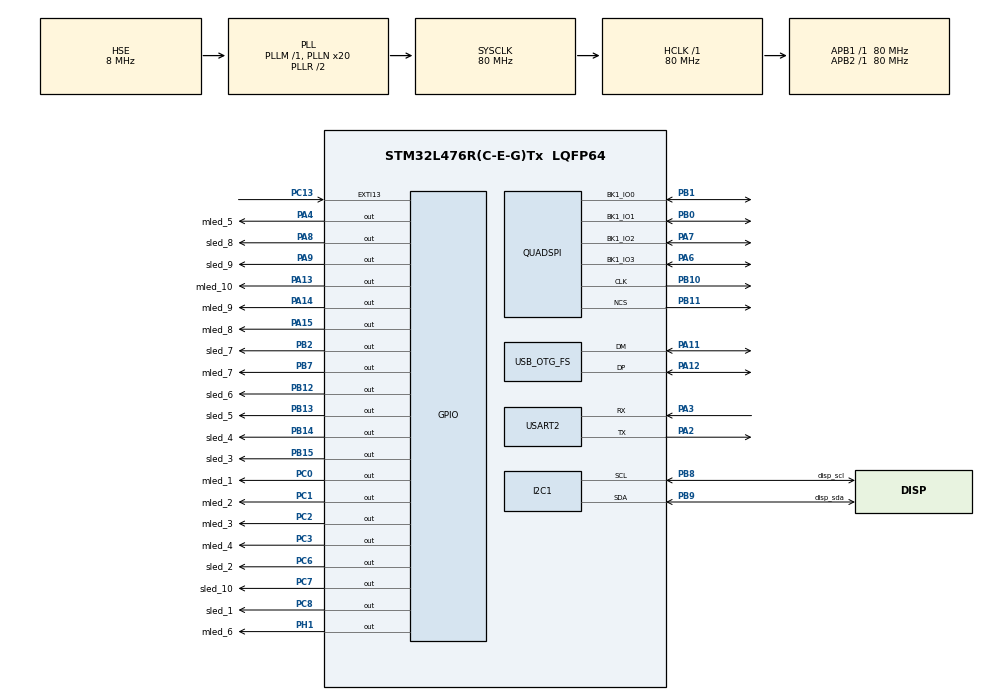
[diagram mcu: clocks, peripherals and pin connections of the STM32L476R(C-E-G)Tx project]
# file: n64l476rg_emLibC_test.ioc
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Dma.QUADSPI.2.Direction=DMA_PERIPH_TO_MEMORY
Dma.QUADSPI.2.Instance=DMA1_Channel5
Dma.QUADSPI.2.MemDataAlignment=DMA_MDATAALIGN_BYTE
Dma.QUADSPI.2.MemInc=DMA_MINC_ENABLE
Dma.QUADSPI.2.Mode=DMA_NORMAL
Dma.QUADSPI.2.PeriphDataAlignment=DMA_PDATAALIGN_BYTE
Dma.QUADSPI.2.PeriphInc=DMA_PINC_DISABLE
Dma.QUADSPI.2.Priority=DMA_PRIORITY_LOW
Dma.Request0=USART2_TX
Dma.Request1=USART2_RX
Dma.Request2=QUADSPI
Dma.USART2_RX.1.Direction=DMA_PERIPH_TO_MEMORY
Dma.USART2_RX.1.Instance=DMA1_Channel6
Dma.USART2_RX.1.MemDataAlignment=DMA_MDATAALIGN_BYTE
Dma.USART2_RX.1.MemInc=DMA_MINC_ENABLE
Dma.USART2_RX.1.Mode=DMA_NORMAL
Dma.USART2_RX.1.PeriphDataAlignment=DMA_PDATAALIGN_BYTE
Dma.USART2_RX.1.PeriphInc=DMA_PINC_DISABLE
Dma.USART2_RX.1.Priority=DMA_PRIORITY_LOW
Dma.USART2_TX.0.Direction=DMA_MEMORY_TO_PERIPH
Dma.USART2_TX.0.Instance=DMA1_Channel7
Dma.USART2_TX.0.MemDataAlignment=DMA_MDATAALIGN_BYTE
Dma.USART2_TX.0.MemInc=DMA_MINC_ENABLE
Dma.USART2_TX.0.Mode=DMA_NORMAL
Dma.USART2_TX.0.PeriphDataAlignment=DMA_PDATAALIGN_BYTE
Dma.USART2_TX.0.PeriphInc=DMA_PINC_DISABLE
Dma.USART2_TX.0.Priority=DMA_PRIORITY_LOW
I2C1.Timing=0x10D19CE4
Mcu.Family=STM32L4
Mcu.Name=STM32L476R(C-E-G)Tx
Mcu.Package=LQFP64
NVIC.DMA1_Channel5_IRQn=true\:0\:0\:false\:false\:true\:false\:true\:true
NVIC.DMA1_Channel6_IRQn=true\:4\:0\:true\:false\:true\:false\:true\:true
NVIC.DMA1_Channel7_IRQn=true\:4\:0\:true\:false\:true\:false\:true\:true
NVIC.EXTI15_10_IRQn=true\:0\:0\:false\:false\:true\:true\:true\:true
NVIC.OTG_FS_IRQn=true\:0\:0\:false\:false\:true\:true\:true\:true
NVIC.PriorityGroup=NVIC_PRIORITYGROUP_4
NVIC.QUADSPI_IRQn=true\:0\:0\:false\:false\:true\:true\:true\:true
NVIC.RNG_IRQn=true\:0\:0\:false\:false\:true\:true\:true\:true
NVIC.TIM1_UP_TIM16_IRQn=true\:0\:0\:false\:false\:true\:true\:true\:true
NVIC.TIM2_IRQn=true\:0\:0\:false\:false\:true\:true\:true\:true
NVIC.USART2_IRQn=true\:0\:0\:false\:false\:true\:true\:true\:true
PA11.Mode=Device_Only
PA11.Signal=USB_OTG_FS_DM
PA12.Mode=Device_Only
PA12.Signal=USB_OTG_FS_DP
PA13\ (JTMS-SWDIO).GPIO_Label=mled_10
PA13\ (JTMS-SWDIO).Signal=GPIO_Output
PA14\ (JTCK-SWCLK).GPIO_Label=mled_9
PA14\ (JTCK-SWCLK).Signal=GPIO_Output
PA15\ (JTDI).GPIO_Label=mled_8
PA15\ (JTDI).Signal=GPIO_Output
PA2.Mode=Asynchronous
PA2.Signal=USART2_TX
PA3.Mode=Asynchronous
PA3.Signal=USART2_RX
PA4.GPIO_Label=mled_5
PA4.Signal=GPIO_Output
PA6.Mode=Single Bank
PA6.Signal=QUADSPI_BK1_IO3
PA7.Mode=Single Bank
PA7.Signal=QUADSPI_BK1_IO2
PA8.GPIO_Label=sled_8
PA8.Signal=GPIO_Output
PA9.GPIO_Label=sled_9
PA9.Signal=GPIO_Output
PB0.Mode=Single Bank
PB0.Signal=QUADSPI_BK1_IO1
PB1.Mode=Single Bank
PB1.Signal=QUADSPI_BK1_IO0
PB10.Mode=Single Bank
PB10.Signal=QUADSPI_CLK
PB11.Mode=Single Bank
PB11.Signal=QUADSPI_NCS
PB12.GPIO_Label=sled_6
PB12.Signal=GPIO_Output
PB13.GPIO_Label=sled_5
PB13.Signal=GPIO_Output
PB14.GPIO_Label=sled_4
PB14.Signal=GPIO_Output
PB15.GPIO_Label=sled_3
PB15.Signal=GPIO_Output
PB2.GPIO_Label=sled_7
PB2.Signal=GPIO_Output
PB7.GPIO_Label=mled_7
PB7.Signal=GPIO_Output
PB8.GPIO_Label=disp_scl
PB8.GPIO_Pu=GPIO_PULLUP
PB8.Mode=I2C
PB8.Signal=I2C1_SCL
PB9.GPIO_Label=disp_sda
PB9.GPIO_Pu=GPIO_PULLUP
PB9.Mode=I2C
PB9.Signal=I2C1_SDA
PC0.GPIO_Label=mled_1
PC0.Signal=GPIO_Output
PC1.GPIO_Label=mled_2
PC1.Signal=GPIO_Output
PC13.Signal=GPXTI13
PC14-OSC32_IN\ (PC14).Signal=RCC_OSC32_IN
PC15-OSC32_OUT\ (PC15).Signal=GPXTI15
PC2.GPIO_Label=mled_3
PC2.Signal=GPIO_Output
PC3.GPIO_Label=mled_4
PC3.Signal=GPIO_Output
PC6.GPIO_Label=sled_2
PC6.Signal=GPIO_Output
PC7.GPIO_Label=sled_10
PC7.Signal=GPIO_Output
PC8.GPIO_Label=sled_1
PC8.Signal=GPIO_Output
PH0-OSC_IN\ (PH0).Mode=HSE-External-Clock-Source
PH0-OSC_IN\ (PH0).Signal=RCC_OSC_IN
PH1-OSC_OUT\ (PH1).GPIO_Label=mled_6
PH1-OSC_OUT\ (PH1).Signal=GPIO_Output
ProjectManager.HeapSize=0x1000
ProjectManager.StackSize=0x1000
ProjectManager.TargetToolchain=STM32CubeIDE
QUADSPI.ClockPrescaler-Single\ Bank=8
RCC.ADCFreq_Value=48000000
RCC.AHBFreq_Value=80000000
RCC.APB1Freq_Value=80000000
RCC.APB1TimFreq_Value=80000000
RCC.APB2Freq_Value=80000000
RCC.APB2TimFreq_Value=80000000
RCC.CortexFreq_Value=80000000
RCC.HCLKFreq_Value=80000000
RCC.HSE_VALUE=8000000
RCC.HSI_VALUE=16000000
RCC.LSE_VALUE=32768
RCC.MSI_VALUE=4000000
RCC.PLLN=20
RCC.PLLSAI1N=12
RCC.PLLSourceVirtual=RCC_PLLSOURCE_HSE
RCC.SYSCLKFreq_VALUE=80000000
RCC.SYSCLKSource=RCC_SYSCLKSOURCE_PLLCLK
RCC.USBFreq_Value=48000000
RCC.VCOOutputFreq_Value=160000000
TIM1.ClockDivision=TIM_CLOCKDIVISION_DIV1
TIM1.Period=1388
TIM1.Prescaler=80
TIM2.Period=1388
TIM2.Prescaler=80
USART2.VirtualMode-Asynchronous=VM_ASYNC
USB_OTG_FS.VirtualMode=Device_Only
VP_RNG_VS_RNG.Mode=RNG_Activate
VP_TIM1_VS_ClockSourceINT.Mode=Internal
VP_TIM2_VS_ClockSourceINT.Mode=Internal
board=custom

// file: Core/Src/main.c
/* USER CODE BEGIN Header */
/**
 ******************************************************************************
 * @file           : main.c
 * @brief          : Main program body
 ******************************************************************************
 * @attention
 *
 * Copyright (c) 2025 STMicroelectronics.
 * All rights reserved.
 *
 * This software is licensed under terms that can be found in the LICENSE file
 * in the root directory of this software component.
 * If no LICENSE file comes with this software, it is provided AS-IS.
 *
 ******************************************************************************
 */
/* USER CODE END Header */
#include "main.h"

/* USER CODE BEGIN Includes */
#include "common.h"
#include "gpio_port.h"
#include "serial.h"
#ifdef HAL_PCD_MODULE_ENABLED
#ifdef USE_TINY_USB
#include "tinyUSB.h"
#include "tusb.h"
#else

#endif
#endif
/* USER CODE END Includes */

/* USER CODE BEGIN PM */
// dcd_int_handler() reiht USB Events nur ein; abgearbeitet werden sie in
// tud_task(). Waehrend der Boot Konfiguration wird nichts ausgegeben, also
// pumpt auch serial_write() nicht - ohne diesen Aufruf laeuft die Enumeration
// in den Timeout, solange auf eine Eingabe gewartet wird.
#if defined(HAL_PCD_MODULE_ENABLED) && defined(USE_TINY_USB)
#define USB_POLL() tud_task()
#else
#define USB_POLL() ((void)0)
#endif
/* USER CODE END PM */

I2C_HandleTypeDef hi2c1;

QSPI_HandleTypeDef hqspi;
DMA_HandleTypeDef  hdma_quadspi;

RNG_HandleTypeDef hrng;

TIM_HandleTypeDef htim1;
TIM_HandleTypeDef htim2;

UART_HandleTypeDef huart2;
DMA_HandleTypeDef  hdma_usart2_tx;
DMA_HandleTypeDef  hdma_usart2_rx;

PCD_HandleTypeDef hpcd_USB_OTG_FS;

/* USER CODE BEGIN PV */

dev_handle_t    sDev;
dev_handle_t    eDev;
static buffer_t rxb        = { .size = RX_BUFFER_SIZE };
static buffer_t txb        = { .size = TX_BUFFER_SIZE };
sio_t           serial     = { .uart = &huart2, .buffer = { &rxb, &txb }, .mode = RAW | USE_UART | TIMESTAMP };
buffer_t        urx_buffer = { .size = USB_TX_BUFFER_SIZE, .type = RING };
buffer_t        utx_buffer = { .size = USB_TX_BUFFER_SIZE, .type = RING };
time_handle_t   timehdl;
char            line[TX_BUFFER_SIZE];
time_handle_t   rtxhdl = -1;
time_handle_t   rrxhdl = -1;
static gpio_port_t slave_ledline = {
       .cnt =10,
       .pin = {
            { .port = GPIOC, .pin = GPIO_PIN_4,  .def= false,  .inv= false, .conf = { .Mode = GPIO_MODE_OUTPUT_PP, .Speed=GPIO_SPEED_FREQ_LOW, .Pull = GPIO_NOPULL } }, //  ddata_0,
            { .port = GPIOB, .pin = GPIO_PIN_13, .def= false,  .inv= false, .conf = { .Mode = GPIO_MODE_OUTPUT_PP, .Speed=GPIO_SPEED_FREQ_LOW, .Pull = GPIO_NOPULL } }, //  ddata_1,
            { .port = GPIOB, .pin = GPIO_PIN_14, .def= false,  .inv= false, .conf = { .Mode = GPIO_MODE_OUTPUT_PP, .Speed=GPIO_SPEED_FREQ_LOW, .Pull = GPIO_NOPULL } }, //  ddata_2,
            { .port = GPIOB, .pin = GPIO_PIN_15, .def= false,  .inv= false, .conf = { .Mode = GPIO_MODE_OUTPUT_PP, .Speed=GPIO_SPEED_FREQ_LOW, .Pull = GPIO_NOPULL } }, //  ddata_3,
            { .port = GPIOB, .pin = GPIO_PIN_1,  .def= false,  .inv= false, .conf = { .Mode = GPIO_MODE_OUTPUT_PP, .Speed=GPIO_SPEED_FREQ_LOW, .Pull = GPIO_NOPULL } }, //  ss_toggle,
            { .port = GPIOB, .pin = GPIO_PIN_2,  .def= false,  .inv= false, .conf = { .Mode = GPIO_MODE_OUTPUT_PP, .Speed=GPIO_SPEED_FREQ_LOW, .Pull = GPIO_NOPULL } }, //  slot_toggle,
            { .port = GPIOB, .pin = GPIO_PIN_11, .def= false,  .inv= false, .conf = { .Mode = GPIO_MODE_OUTPUT_PP, .Speed=GPIO_SPEED_FREQ_LOW, .Pull = GPIO_NOPULL } }, //  cycle_toggle,
            { .port = GPIOB, .pin = GPIO_PIN_12, .def= false,  .inv= false, .conf = { .Mode = GPIO_MODE_OUTPUT_PP, .Speed=GPIO_SPEED_FREQ_LOW, .Pull = GPIO_NOPULL } }, //  tx_toggle,
            { .port = GPIOB, .pin = GPIO_PIN_5,  .def= false,  .inv= false, .conf = { .Mode = GPIO_MODE_OUTPUT_PP, .Speed=GPIO_SPEED_FREQ_LOW, .Pull = GPIO_NOPULL } }, //  cycle_update,
            { .port = GPIOB, .pin = GPIO_PIN_6,  .def= false,  .inv= false, .conf = { .Mode = GPIO_MODE_OUTPUT_PP, .Speed=GPIO_SPEED_FREQ_LOW, .Pull = GPIO_NOPULL } }, //  rx_toggle,
       },
};
static gpio_port_t master_ledline = {
       .cnt =10,
       .pin = {
            { .port = GPIOC, .pin = GPIO_PIN_0,  .def= false,  .inv= false, .conf = { .Mode = GPIO_MODE_OUTPUT_PP, .Speed=GPIO_SPEED_FREQ_LOW, .Pull = GPIO_NOPULL } }, //  ddata_0,
            { .port = GPIOC, .pin = GPIO_PIN_1,  .def= false,  .inv= false, .conf = { .Mode = GPIO_MODE_OUTPUT_PP, .Speed=GPIO_SPEED_FREQ_LOW, .Pull = GPIO_NOPULL } }, //  ddata_1,
            { .port = GPIOC, .pin = GPIO_PIN_2,  .def= false,  .inv= false, .conf = { .Mode = GPIO_MODE_OUTPUT_PP, .Speed=GPIO_SPEED_FREQ_LOW, .Pull = GPIO_NOPULL } }, //  ddata_2,
            { .port = GPIOC, .pin = GPIO_PIN_3,  .def= false,  .inv= false, .conf = { .Mode = GPIO_MODE_OUTPUT_PP, .Speed=GPIO_SPEED_FREQ_LOW, .Pull = GPIO_NOPULL } }, //  ddata_3,
            { .port = GPIOA, .pin = GPIO_PIN_4,  .def= false,  .inv= false, .conf = { .Mode = GPIO_MODE_OUTPUT_PP, .Speed=GPIO_SPEED_FREQ_LOW, .Pull = GPIO_NOPULL } }, //  ss_toggle,
            { .port = GPIOH, .pin = GPIO_PIN_1,  .def= false,  .inv= false, .conf = { .Mode = GPIO_MODE_OUTPUT_PP, .Speed=GPIO_SPEED_FREQ_LOW, .Pull = GPIO_NOPULL } }, //  slot_toggle,
            { .port = GPIOB, .pin = GPIO_PIN_7,  .def= false,  .inv= false, .conf = { .Mode = GPIO_MODE_OUTPUT_PP, .Speed=GPIO_SPEED_FREQ_LOW, .Pull = GPIO_NOPULL } }, //  cycle_toggle,
            { .port = GPIOA, .pin = GPIO_PIN_15, .def= false,  .inv= false, .conf = { .Mode = GPIO_MODE_OUTPUT_PP, .Speed=GPIO_SPEED_FREQ_LOW, .Pull = GPIO_NOPULL } }, //  tx_toggle,
            { .port = GPIOA, .pin = GPIO_PIN_14, .def= false,  .inv= false, .conf = { .Mode = GPIO_MODE_OUTPUT_PP, .Speed=GPIO_SPEED_FREQ_LOW, .Pull = GPIO_NOPULL } }, //  cycle_update,
            { .port = GPIOA, .pin = GPIO_PIN_13, .def= false,  .inv= false, .conf = { .Mode = GPIO_MODE_OUTPUT_PP, .Speed=GPIO_SPEED_FREQ_LOW, .Pull = GPIO_NOPULL } }, //  rx_toggle,
       },
};

/* USER CODE END PV */

void        SystemClock_Config(void);
void        PeriphCommonClock_Config(void);
static void MX_GPIO_Init(void);
static void MX_DMA_Init(void);
static void MX_USART2_UART_Init(void);
static void MX_I2C1_Init(void);
static void MX_RNG_Init(void);
static void MX_TIM1_Init(void);
static void MX_USB_OTG_FS_PCD_Init(void);
static void MX_QUADSPI_Init(void);
static void MX_TIM2_Init(void);

/* USER CODE BEGIN 0 */
uint32_t Get_Random_Value(void) {
    uint32_t random_num = 0;
    // This function automatically waits for DRDY (Data Ready)
    if (HAL_RNG_GenerateRandomNumber(&hrng, &random_num) != HAL_OK) {
        // Generation Error
        Error_Handler();
    }
    return random_num;
}
/* USER CODE END 0 */

int main(void) {

    /* MCU Configuration--------------------------------------------------------*/

    /* Reset of all peripherals, Initializes the Flash interface and the Systick. */
    HAL_Init();

    /* USER CODE BEGIN Init */
    uint8_t uniq_id[UNIQ_ID_LEN];
    char    text[CHAR_PER_LINE];
    state_t system_state;
    state_init(&system_state);
    system_state.first = 1;
    system_state.cnt   = MY_BUTTON_CNT;
    state_t cstate;
    cstate = system_state;
    state_init(&cstate);
    state_t diff; // Difference state
    state_init(&diff);
    diff = system_state;
    state_t estate; // Eight keyboard state
    state_init(&estate);
    estate = system_state;
    buffer_new_buffer_t(&urx_buffer);
    buffer_new_buffer_t(&utx_buffer);
    rtxhdl  = time_new("rtxhdl");
    rrxhdl  = time_new("rrxhdl");

    system_state_e read_state = RESET;
    AppliFrame_t   frame;
    radio_stat_init(&rstat);

    /* USER CODE END Init */

    /* Configure the system clock */
    SystemClock_Config();

    /* Configure the peripherals common clocks */
    PeriphCommonClock_Config();

    /* USER CODE BEGIN SysInit */
    // I2C1_BusRecovery();
    /* USER CODE END SysInit */

    /* Initialize all configured peripherals */
    MX_GPIO_Init();
    MX_DMA_Init();
    MX_USART2_UART_Init();
    MX_I2C1_Init();
    MX_RNG_Init();
    MX_TIM1_Init();
    MX_USB_OTG_FS_PCD_Init();
    MX_QUADSPI_Init();
    MX_TIM2_Init();
    /* USER CODE BEGIN 2 */
    dev_handle_t shdl = msystem_init(&system_state, &slave_ledline);
    cycle_init(&cycle, shdl, SS_SUBSLOT_PRE, SS_SUBSLOT_POST, SS_SUBSLOT_RX_DIFF, CYCLE_MASTER_KEEP_ALIVE_CYCLE_CNT, &htim1);

    dev_handle_t mhdl = stateled_init(&system_state, &master_ledline, BLINKING_CNT * MY_SLOT_CNT, BLINKING_IT_CNT);
    cycle_init(&mcycle, mhdl, SS_SUBSLOT_PRE, SS_SUBSLOT_POST, SS_SUBSLOT_RX_DIFF, CYCLE_MASTER_KEEP_ALIVE_CYCLE_CNT, &htim1);

    AppliFrame_Init(&frame, MASTER_SLOT);
    time_init(); // must be called after SystemClock_Config()
    timehdl = time_new("timehdl");
    time_set_max(timehdl, 1); // Keep boot up time
#ifdef USE_TINY_USB
    tusb_rhport_init_t dev_init = {
        .role  = TUSB_ROLE_DEVICE,
        .speed = TUSB_SPEED_AUTO
    };
    tusb_init(BOARD_TUD_RHPORT, &dev_init);
#ifdef USE_TINY_USB_MSC
    uint32_t timeout = HAL_GetTick() + 3000;
    while (!tud_cdc_connected() && HAL_GetTick() < timeout) {
        tud_task();
        HAL_Delay(1);
    }
#endif
#endif

    HAL_TIM_Base_Start_IT(&htim1);
    HAL_TIM_Base_Start(&htim1);
    HAL_TIM_Base_Start_IT(&htim2);
    HAL_TIM_Base_Start(&htim2);
    sDev = keyboard_init(&serial_dev, &serial);
    eDev = keyboard_init(&eight_dev, NULL);
    for (uint8_t i = 0; i < TX_BUFFER_SIZE - 2; i++) {
        if (i % 10 == 0) {
            line[i] = '0' + i / 10;
        } else {
            line[i] = '*';
        }
    }
    printf("%s" NL, line);
    printf("*************" NL);
    printf("*************" NL);
    printf("Start logging" NL);
    if (strlen(git_hash)) {
        printf("Git hash             = %s:" NL, git_hash);
        printf("MCU Series           = %s" NL, MCU);
        board_get_unique_id(uniq_id, UNIQ_ID_LEN);
        printf("UNIQ ID[0]           = 0x%04x" NL, *(uint16_t *)&uniq_id[0]);
        printf("UNIQ ID[1]           = 0x%04x" NL, *(uint16_t *)&uniq_id[2]);
        printf("UNIQ ID[2]           = 0x%04x" NL, *(uint16_t *)&uniq_id[4]);
        printf("UNIQ ID[3]           = 0x%04x" NL, *(uint16_t *)&uniq_id[6]);
        printf("UNIQ ID[4]           = 0x%04x" NL, *(uint16_t *)&uniq_id[8]);
        printf("UNIQ ID[5]           = 0x%04x" NL, *(uint16_t *)&uniq_id[10]);
        printf("sizeof(AppliFrame_t) = %d" NL, APPLIFRAME_SIZE_ON_AIR);
        printf("sizeof(payload_t)    = %d" NL, sizeof(payload_t));
        printf("sizeof(state_t)      = %d" NL, sizeof(state_t));
        printf("HAL_VERSION          = %04lx" NL, HAL_GetHalVersion());
#ifdef HAL_PCD_MODULE_ENABLED
#ifdef USE_TINY_USB
        printf("USB is active" NL);
        msystem.usb_active = true;
#else
        printf("USB is inactive" NL);
        msystem.usb_active = false;
#endif
#endif
    }
    time_print(stxhdl, "Serial after startup", true, true);
    for (uint8_t a = 1; a < 128; a++) {
        if (HAL_I2C_IsDeviceReady(&hi2c1, a << 1, 2, 10) == HAL_OK) {
            printf("I2C device @ 0x%02X" NL, a); // SSD1306: erwartet 0x3C (oder 0x3D)
        }
    }
    cycle_set_master(&cycle, MASTER_SLOT);
    cycle_set_state(&cycle, SYNCHRONIZE);
    cycle_set_slot(&cycle, SLAVE_SLOT, SLAVE);
    display_init(&system_state, BLINKING_CNT, &Font_6x8);
    display_write_txt2line(HEADING, "Do start", Centered);
    display_setAttr(0, BLINKING);
    display_update(false, true);
    display_write_txt2line(HEADING, "Do start", Centered);
    printf("Set Key? " NL);
    keyboard_reset(sDev);
    keyboard_reset(eDev);
    display_write_txt2line(HEADING, "slot = 3", Centered);

    printf("Set synchronisation state to %s" NL, idxa2str(&synca2str, cycle_get_state(&cycle)));
    uint32_t lTick = HAL_GetTick();
    /* USER CODE END 2 */

    /* Infinite loop */
    while (1) {

        /* USER CODE BEGIN 3 */
        uint32_t tTick      = HAL_GetTick();
        uint32_t delta_tick = tTick - lTick;
        if (delta_tick > BLINKING_MS) {
            lTick = tTick;
            GpioPinToggle(&msystem.user_pin->pin[user_led]);
            GpioPinToggle(&msystem.user_pin->pin[radio_led]);
        }
        time_stop(timehdl, NULL);
    }
/* USER CODE END 3 */
}

void SystemClock_Config(void) {
    RCC_OscInitTypeDef RCC_OscInitStruct = { 0 };
    RCC_ClkInitTypeDef RCC_ClkInitStruct = { 0 };

    /** Configure the main internal regulator output voltage
     */
    if (HAL_PWREx_ControlVoltageScaling(PWR_REGULATOR_VOLTAGE_SCALE1) != HAL_OK) {
        Error_Handler();
    }

    /** Initializes the RCC Oscillators according to the specified parameters
     * in the RCC_OscInitTypeDef structure.
     */
    RCC_OscInitStruct.OscillatorType = RCC_OSCILLATORTYPE_HSE;
    RCC_OscInitStruct.HSEState       = RCC_HSE_ON;
    RCC_OscInitStruct.PLL.PLLState   = RCC_PLL_ON;
    RCC_OscInitStruct.PLL.PLLSource  = RCC_PLLSOURCE_HSE;
    RCC_OscInitStruct.PLL.PLLM       = 1;
    RCC_OscInitStruct.PLL.PLLN       = 20;
    RCC_OscInitStruct.PLL.PLLP       = RCC_PLLP_DIV7;
    RCC_OscInitStruct.PLL.PLLQ       = RCC_PLLQ_DIV2;
    RCC_OscInitStruct.PLL.PLLR       = RCC_PLLR_DIV2;
    if (HAL_RCC_OscConfig(&RCC_OscInitStruct) != HAL_OK) {
        Error_Handler();
    }

    /** Initializes the CPU, AHB and APB buses clocks
     */
    RCC_ClkInitStruct.ClockType      = RCC_CLOCKTYPE_HCLK | RCC_CLOCKTYPE_SYSCLK | RCC_CLOCKTYPE_PCLK1 | RCC_CLOCKTYPE_PCLK2;
    RCC_ClkInitStruct.SYSCLKSource   = RCC_SYSCLKSOURCE_PLLCLK;
    RCC_ClkInitStruct.AHBCLKDivider  = RCC_SYSCLK_DIV1;
    RCC_ClkInitStruct.APB1CLKDivider = RCC_HCLK_DIV1;
    RCC_ClkInitStruct.APB2CLKDivider = RCC_HCLK_DIV1;

    if (HAL_RCC_ClockConfig(&RCC_ClkInitStruct, FLASH_LATENCY_4) != HAL_OK) {
        Error_Handler();
    }
}

void PeriphCommonClock_Config(void) {
    RCC_PeriphCLKInitTypeDef PeriphClkInit = { 0 };

    /** Initializes the peripherals clock
     */
    PeriphClkInit.PeriphClockSelection    = RCC_PERIPHCLK_USB | RCC_PERIPHCLK_RNG;
    PeriphClkInit.UsbClockSelection       = RCC_USBCLKSOURCE_PLLSAI1;
    PeriphClkInit.RngClockSelection       = RCC_RNGCLKSOURCE_PLLSAI1;
    PeriphClkInit.PLLSAI1.PLLSAI1Source   = RCC_PLLSOURCE_HSE;
    PeriphClkInit.PLLSAI1.PLLSAI1M        = 1;
    PeriphClkInit.PLLSAI1.PLLSAI1N        = 12;
    PeriphClkInit.PLLSAI1.PLLSAI1P        = RCC_PLLP_DIV7;
    PeriphClkInit.PLLSAI1.PLLSAI1Q        = RCC_PLLQ_DIV2;
    PeriphClkInit.PLLSAI1.PLLSAI1R        = RCC_PLLR_DIV2;
    PeriphClkInit.PLLSAI1.PLLSAI1ClockOut = RCC_PLLSAI1_48M2CLK;
    if (HAL_RCCEx_PeriphCLKConfig(&PeriphClkInit) != HAL_OK) {
        Error_Handler();
    }
}

static void MX_I2C1_Init(void) {

    hi2c1.Instance              = I2C1;
    hi2c1.Init.Timing           = 0x10D19CE4;
    hi2c1.Init.OwnAddress1      = 0;
    hi2c1.Init.AddressingMode   = I2C_ADDRESSINGMODE_7BIT;
    hi2c1.Init.DualAddressMode  = I2C_DUALADDRESS_DISABLE;
    hi2c1.Init.OwnAddress2      = 0;
    hi2c1.Init.OwnAddress2Masks = I2C_OA2_NOMASK;
    hi2c1.Init.GeneralCallMode  = I2C_GENERALCALL_DISABLE;
    hi2c1.Init.NoStretchMode    = I2C_NOSTRETCH_DISABLE;
    if (HAL_I2C_Init(&hi2c1) != HAL_OK) {
        Error_Handler();
    }

    /** Configure Analogue filter
     */
    if (HAL_I2CEx_ConfigAnalogFilter(&hi2c1, I2C_ANALOGFILTER_ENABLE) != HAL_OK) {
        Error_Handler();
    }

    /** Configure Digital filter
     */
    if (HAL_I2CEx_ConfigDigitalFilter(&hi2c1, 0) != HAL_OK) {
        Error_Handler();
    }
}

static void MX_QUADSPI_Init(void) {

    /* QUADSPI parameter configuration*/
    hqspi.Instance                = QUADSPI;
    hqspi.Init.ClockPrescaler     = 8;
    hqspi.Init.FifoThreshold      = 1;
    hqspi.Init.SampleShifting     = QSPI_SAMPLE_SHIFTING_NONE;
    hqspi.Init.FlashSize          = 1;
    hqspi.Init.ChipSelectHighTime = QSPI_CS_HIGH_TIME_1_CYCLE;
    hqspi.Init.ClockMode          = QSPI_CLOCK_MODE_0;
    if (HAL_QSPI_Init(&hqspi) != HAL_OK) {
        Error_Handler();
    }
}

static void MX_RNG_Init(void) {

    hrng.Instance = RNG;
    if (HAL_RNG_Init(&hrng) != HAL_OK) {
        Error_Handler();
    }
}

static void MX_TIM1_Init(void) {

    TIM_ClockConfigTypeDef  sClockSourceConfig = { 0 };
    TIM_MasterConfigTypeDef sMasterConfig      = { 0 };

    htim1.Instance               = TIM1;
    htim1.Init.Prescaler         = 80;
    htim1.Init.CounterMode       = TIM_COUNTERMODE_UP;
    htim1.Init.Period            = 1388;
    htim1.Init.ClockDivision     = TIM_CLOCKDIVISION_DIV1;
    htim1.Init.RepetitionCounter = 0;
    htim1.Init.AutoReloadPreload = TIM_AUTORELOAD_PRELOAD_DISABLE;
    if (HAL_TIM_Base_Init(&htim1) != HAL_OK) {
        Error_Handler();
    }
    sClockSourceConfig.ClockSource = TIM_CLOCKSOURCE_INTERNAL;
    if (HAL_TIM_ConfigClockSource(&htim1, &sClockSourceConfig) != HAL_OK) {
        Error_Handler();
    }
    sMasterConfig.MasterOutputTrigger  = TIM_TRGO_RESET;
    sMasterConfig.MasterOutputTrigger2 = TIM_TRGO2_RESET;
    sMasterConfig.MasterSlaveMode      = TIM_MASTERSLAVEMODE_DISABLE;
    if (HAL_TIMEx_MasterConfigSynchronization(&htim1, &sMasterConfig) != HAL_OK) {
        Error_Handler();
    }
}

static void MX_TIM2_Init(void) {

    TIM_ClockConfigTypeDef  sClockSourceConfig = { 0 };
    TIM_MasterConfigTypeDef sMasterConfig      = { 0 };

    htim2.Instance               = TIM2;
    htim2.Init.Prescaler         = 80;
    htim2.Init.CounterMode       = TIM_COUNTERMODE_UP;
    htim2.Init.Period            = 1388;
    htim2.Init.ClockDivision     = TIM_CLOCKDIVISION_DIV1;
    htim2.Init.AutoReloadPreload = TIM_AUTORELOAD_PRELOAD_DISABLE;
    if (HAL_TIM_Base_Init(&htim2) != HAL_OK) {
        Error_Handler();
    }
    sClockSourceConfig.ClockSource = TIM_CLOCKSOURCE_INTERNAL;
    if (HAL_TIM_ConfigClockSource(&htim2, &sClockSourceConfig) != HAL_OK) {
        Error_Handler();
    }
    sMasterConfig.MasterOutputTrigger = TIM_TRGO_RESET;
    sMasterConfig.MasterSlaveMode     = TIM_MASTERSLAVEMODE_DISABLE;
    if (HAL_TIMEx_MasterConfigSynchronization(&htim2, &sMasterConfig) != HAL_OK) {
        Error_Handler();
    }
}

static void MX_USART2_UART_Init(void) {

    huart2.Instance                    = USART2;
    huart2.Init.BaudRate               = 115200;
    huart2.Init.WordLength             = UART_WORDLENGTH_8B;
    huart2.Init.StopBits               = UART_STOPBITS_1;
    huart2.Init.Parity                 = UART_PARITY_NONE;
    huart2.Init.Mode                   = UART_MODE_TX_RX;
    huart2.Init.HwFlowCtl              = UART_HWCONTROL_NONE;
    huart2.Init.OverSampling           = UART_OVERSAMPLING_16;
    huart2.Init.OneBitSampling         = UART_ONE_BIT_SAMPLE_DISABLE;
    huart2.AdvancedInit.AdvFeatureInit = UART_ADVFEATURE_NO_INIT;
    if (HAL_UART_Init(&huart2) != HAL_OK) {
        Error_Handler();
    }
}

static void MX_USB_OTG_FS_PCD_Init(void) {

    hpcd_USB_OTG_FS.Instance                     = USB_OTG_FS;
    hpcd_USB_OTG_FS.Init.dev_endpoints           = 6;
    hpcd_USB_OTG_FS.Init.speed                   = PCD_SPEED_FULL;
    hpcd_USB_OTG_FS.Init.phy_itface              = PCD_PHY_EMBEDDED;
    hpcd_USB_OTG_FS.Init.Sof_enable              = DISABLE;
    hpcd_USB_OTG_FS.Init.low_power_enable        = DISABLE;
    hpcd_USB_OTG_FS.Init.lpm_enable              = DISABLE;
    hpcd_USB_OTG_FS.Init.battery_charging_enable = DISABLE;
    hpcd_USB_OTG_FS.Init.use_dedicated_ep1       = DISABLE;
    hpcd_USB_OTG_FS.Init.vbus_sensing_enable     = DISABLE;
    if (HAL_PCD_Init(&hpcd_USB_OTG_FS) != HAL_OK) {
        Error_Handler();
    }
}

static void MX_DMA_Init(void) {

    /* DMA controller clock enable */
    __HAL_RCC_DMA1_CLK_ENABLE();

    /* DMA interrupt init */
    /* DMA1_Channel5_IRQn interrupt configuration */
    HAL_NVIC_SetPriority(DMA1_Channel5_IRQn, 0, 0);
    HAL_NVIC_EnableIRQ(DMA1_Channel5_IRQn);
    /* DMA1_Channel6_IRQn interrupt configuration */
    HAL_NVIC_SetPriority(DMA1_Channel6_IRQn, 4, 0);
    HAL_NVIC_EnableIRQ(DMA1_Channel6_IRQn);
    /* DMA1_Channel7_IRQn interrupt configuration */
    HAL_NVIC_SetPriority(DMA1_Channel7_IRQn, 4, 0);
    HAL_NVIC_EnableIRQ(DMA1_Channel7_IRQn);
}

static void MX_GPIO_Init(void) {
    GPIO_InitTypeDef GPIO_InitStruct = { 0 };

    /* GPIO Ports Clock Enable */
    __HAL_RCC_GPIOC_CLK_ENABLE();
    __HAL_RCC_GPIOH_CLK_ENABLE();
    __HAL_RCC_GPIOA_CLK_ENABLE();
    __HAL_RCC_GPIOB_CLK_ENABLE();

    /*Configure GPIO pin : PC13 */
    GPIO_InitStruct.Pin  = GPIO_PIN_13;
    GPIO_InitStruct.Mode = GPIO_MODE_IT_RISING;
    GPIO_InitStruct.Pull = GPIO_NOPULL;
    HAL_GPIO_Init(GPIOC, &GPIO_InitStruct);

    /* EXTI interrupt init*/
    HAL_NVIC_SetPriority(EXTI15_10_IRQn, 0, 0);
    HAL_NVIC_EnableIRQ(EXTI15_10_IRQn);

}

void Error_Handler(void) {
    __disable_irq();
    while (1) {
    }
}
